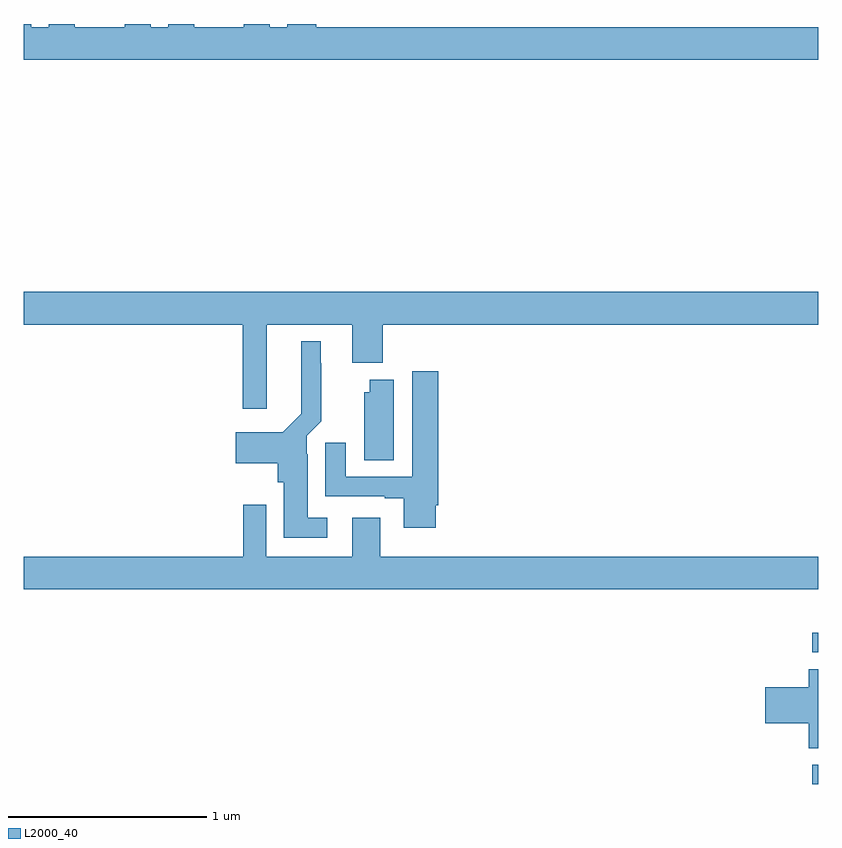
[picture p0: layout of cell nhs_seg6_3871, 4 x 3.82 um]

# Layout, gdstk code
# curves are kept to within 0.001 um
import gdstk
lib = gdstk.Library(unit=1e-6, precision=1e-09)
def R(c, l, rs):  # rectangles x0, y0, x1, y1
    for r in rs: c.add(gdstk.rectangle(r[:2], r[2:], *l))
def P(c, l, *ps):  # polygons
    for p in ps: c.add(gdstk.Polygon(p, *l))
L2000_40 = (2000, 40)

nhs_seg6_3871 = lib.new_cell('nhs_seg6_3871')
R(nhs_seg6_3871, L2000_40, [(342.969,959.676,343,959.772), (342.969,960.339,343,960.438)])
P(nhs_seg6_3871, L2000_40, [(343,963.484),(340.472,963.484),(340.472,963.5),(340.328,963.5),(340.328,963.484),(340.24,963.484),(340.24,963.5),(340.109,963.5),(340.109,963.484),(339.859,963.484),(339.859,963.5),(339.728,963.5),(339.728,963.484),(339.64,963.484),(339.64,963.5),(339.509,963.5),(339.509,963.484),(339.259,963.484),(339.259,963.5),(339.128,963.5),(339.128,963.484),(339.04,963.484),(339.04,963.5),(339,963.5),(339,963.32),(343,963.32)],
  [(340.225,961.988),(340.655,961.988),(340.655,961.796),(340.808,961.796),(340.808,961.988),(343,961.988),(343,962.152),(339,962.152),(339,961.988),(340.103,961.988),(340.103,961.563),(340.225,961.563)],
  [(340.528,961.015),(340.429,961.015),(340.429,961.334),(340.425,961.334),(340.425,961.428),(340.499,961.502),(340.499,961.793),(340.495,961.793),(340.495,961.903),(340.397,961.903),(340.398,961.54),(340.305,961.447),(340.068,961.447),(340.068,961.289),(340.28,961.289),(340.28,961.194),(340.31,961.194),(340.31,960.914),(340.528,960.914)],
  [(341.074,961.078),(341.087,961.078),(341.087,961.753),(340.955,961.753),(340.955,961.221),(340.621,961.221),(340.621,961.393),(340.517,961.393),(340.517,961.125),(340.817,961.125),(340.817,961.113),(340.913,961.113),(340.913,960.966),(341.074,960.966)],
  [(340.864,961.711),(340.742,961.711),(340.742,961.647),(340.715,961.647),(340.715,961.306),(340.864,961.306)],
  [(343,960.82),(340.795,960.82),(340.795,961.015),(340.655,961.015),(340.655,960.82),(340.221,960.82),(340.221,961.081),(340.105,961.081),(340.105,960.82),(339,960.82),(339,960.656),(343,960.656)],
  [(343,960.254),(342.95,960.254),(342.95,960.164),(342.732,960.164),(342.732,959.981),(342.95,959.981),(342.95,959.857),(343,959.857)])

lib.write_gds('nhs_seg6_3871.gds')
